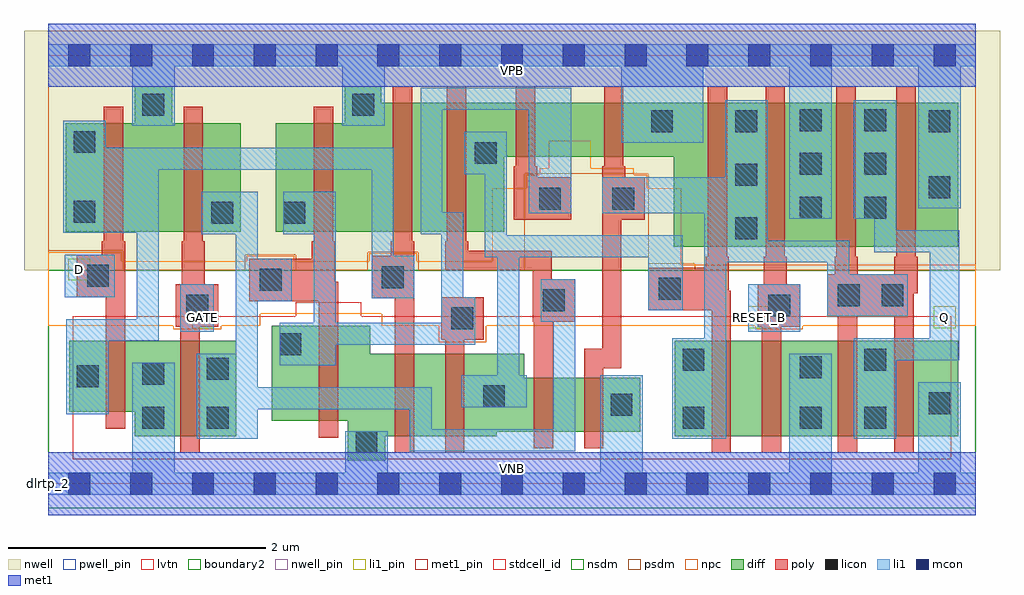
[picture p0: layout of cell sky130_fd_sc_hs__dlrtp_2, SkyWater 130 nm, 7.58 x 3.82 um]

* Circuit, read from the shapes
.subckt sky130_fd_sc_hs__dlrtp_2 D GATE Q RESET_B VGND VNB VPB VPWR
XM1 VGND D n1 VNB sky130_fd_pr__nfet_01v8_lvt w=0.55 l=0.15
XM2 n2 GATE VGND VNB sky130_fd_pr__nfet_01v8_lvt w=0.74 l=0.15
XM3 VGND n2 n3 VNB sky130_fd_pr__nfet_01v8_lvt w=0.74 l=0.15
XM4 n4 n1 VGND VNB sky130_fd_pr__nfet_01v8_lvt w=0.64 l=0.15
XM5 n5 n3 n4 VNB sky130_fd_pr__nfet_01v8_lvt w=0.64 l=0.15
XM6 n6 n2 n5 VNB sky130_fd_pr__nfet_01v8_lvt w=0.42 l=0.15
XM7 VGND n7 n6 VNB sky130_fd_pr__nfet_01v8_lvt w=0.42 l=0.15
XM8 n8 n5 n7 VNB sky130_fd_pr__nfet_01v8_lvt w=0.74 l=0.15
XM9 VGND RESET_B n8 VNB sky130_fd_pr__nfet_01v8_lvt w=0.74 l=0.15
XM10 Q n7 VGND VNB sky130_fd_pr__nfet_01v8_lvt w=0.74 l=0.15 m=2
XM11 VPWR D n1 VPB sky130_fd_pr__pfet_01v8 w=0.84 l=0.15
XM12 n2 GATE VPWR VPB sky130_fd_pr__pfet_01v8 w=0.84 l=0.15
XM13 VPWR n2 n3 VPB sky130_fd_pr__pfet_01v8 w=0.84 l=0.15
XM14 n9 n1 VPWR VPB sky130_fd_pr__pfet_01v8 w=1 l=0.15
XM15 n5 n2 n9 VPB sky130_fd_pr__pfet_01v8 w=1 l=0.15
XM16 n10 n3 n5 VPB sky130_fd_pr__pfet_01v8 w=0.42 l=0.15
XM17 VPWR n7 n10 VPB sky130_fd_pr__pfet_01v8 w=0.42 l=0.15
XM18 n7 n5 VPWR VPB sky130_fd_pr__pfet_01v8 w=1.12 l=0.15
XM19 VPWR RESET_B n7 VPB sky130_fd_pr__pfet_01v8 w=1.12 l=0.15
XM20 Q n7 VPWR VPB sky130_fd_pr__pfet_01v8 w=1.12 l=0.15 m=2
.ends

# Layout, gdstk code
import gdstk
lib = gdstk.Library(unit=1e-6, precision=1e-09)
def R(c, l, rs):  # rectangles x0, y0, x1, y1
    for r in rs: c.add(gdstk.rectangle(r[:2], r[2:], *l))
def A(c, l, x, y, w, h, nx, ny, dx, dy):  # array of equal rectangles
    R(c, l, [(x+i*dx, y+j*dy, x+i*dx+w, y+j*dy+h) for i in range(nx) for j in range(ny)])
def P(c, l, *ps):  # polygons
    for p in ps: c.add(gdstk.Polygon(p, *l))
nwell_pin = (64, 16)
nwell = (64, 20)
diff = (65, 20)
poly = (66, 20)
licon = (66, 44)
li1_pin = (67, 16)
li1 = (67, 20)
mcon = (67, 44)
met1_pin = (68, 16)
met1 = (68, 20)
stdcell_id = (81, 4)
nsdm = (93, 44)
psdm = (94, 20)
npc = (95, 20)
pwell_pin = (122, 16)
lvtn = (125, 44)
boundary2 = (236, 0)

sky130_fd_sc_hs__dlrtp_2 = lib.new_cell('sky130_fd_sc_hs__dlrtp_2')
R(sky130_fd_sc_hs__dlrtp_2, nwell_pin, [(0,3.085,7.2,3.33)])
R(sky130_fd_sc_hs__dlrtp_2, nwell, [(-0.19,1.66,7.39,3.52)])
R(sky130_fd_sc_hs__dlrtp_2, diff, [(4.865,0.37,7.065,1.11)])
P(sky130_fd_sc_hs__dlrtp_2, diff, [(1.46,1.11),(0.16,1.11),(0.16,0.56),(0.67,0.56),(0.67,0.37),(1.46,0.37)],
  [(1.495,2.8),(0.96,2.8),(0.96,3.09),(0.67,3.09),(0.67,2.8),(0.135,2.8),(0.135,1.96),(1.495,1.96)],
  [(4.595,0.825),(3.695,0.825),(3.695,1.01),(2.5,1.01),(2.5,1.23),(1.735,1.23),(1.735,0.49),(2.325,0.49),(2.325,0.18),(2.615,0.18),(2.615,0.37),(3.48,0.37),(3.48,0.405),(4.595,0.405)],
  [(7.065,2.96),(2.585,2.96),(2.585,3.09),(2.3,3.09),(2.3,2.8),(1.765,2.8),(1.765,1.96),(3.54,1.96),(3.54,2.54),(4.855,2.54),(4.855,1.84),(7.065,1.84)])
P(sky130_fd_sc_hs__dlrtp_2, poly, [(6.75,1.765),(6.735,1.765),(6.735,3.09),(6.585,3.09),(6.585,1.765),(6.57,1.765),(6.57,1.63),(6.285,1.63),(6.285,1.765),(6.27,1.765),(6.27,3.09),(6.12,3.09),(6.12,1.765),(6.105,1.765),(6.105,1.63),(6.05,1.63),(6.05,1.3),(6.13,1.3),(6.13,0.24),(6.28,0.24),(6.28,1.3),(6.57,1.3),(6.57,0.24),(6.72,0.24),(6.72,1.48),(6.75,1.48)],
  [(5.84,1.55),(5.735,1.55),(5.735,1.765),(5.72,1.765),(5.72,3.09),(5.57,3.09),(5.57,1.765),(5.555,1.765),(5.555,1.55),(5.51,1.55),(5.51,1.22),(5.54,1.22),(5.54,0.24),(5.69,0.24),(5.69,1.22),(5.84,1.22)],
  [(5.3,1.5),(5.285,1.5),(5.285,1.765),(5.27,1.765),(5.27,3.09),(5.12,3.09),(5.12,1.765),(5.105,1.765),(5.105,1.68),(4.66,1.68),(4.66,1.35),(5.15,1.35),(5.15,0.24),(5.3,0.24)],
  [(4.63,2.38),(4.48,2.38),(4.48,2.465),(4.465,2.465),(4.465,3.09),(4.315,3.09),(4.315,2.465),(4.3,2.465),(4.3,1.05),(4.16,1.05),(4.16,0.275),(4.31,0.275),(4.31,0.9),(4.45,0.9),(4.45,2.05),(4.63,2.05)],
  [(4.09,1.59),(3.91,1.59),(3.91,1.81),(3.26,1.81),(3.26,1.885),(3.245,1.885),(3.245,3.09),(3.095,3.09),(3.095,1.885),(3.08,1.885),(3.08,1.66),(3.76,1.66),(3.76,1.26),(3.77,1.26),(3.77,0.275),(3.92,0.275),(3.92,1.26),(4.09,1.26)],
  [(4.06,2.38),(3.795,2.38),(3.795,2.465),(3.78,2.465),(3.78,3.09),(3.63,3.09),(3.63,2.465),(3.615,2.465),(3.615,2.05),(4.06,2.05)],
  [(3.38,1.45),(3.05,1.45),(3.05,1.12),(3.08,1.12),(3.08,0.24),(3.23,0.24),(3.23,1.12),(3.38,1.12)],
  [(2.84,1.885),(2.825,1.885),(2.825,3.09),(2.675,3.09),(2.675,1.885),(2.66,1.885),(2.66,1.77),(2.51,1.77),(2.51,1.44),(2.69,1.44),(2.69,0.24),(2.84,0.24)],
  [(2.25,1.57),(2.225,1.57),(2.225,1.885),(2.21,1.885),(2.21,2.93),(2.06,2.93),(2.06,1.885),(2.045,1.885),(2.045,1.75),(1.56,1.75),(1.56,1.42),(2.1,1.42),(2.1,0.36),(2.25,0.36)],
  [(1.32,1.55),(1.215,1.55),(1.215,1.885),(1.2,1.885),(1.2,2.93),(1.05,2.93),(1.05,1.885),(1.035,1.885),(1.035,1.55),(0.99,1.55),(0.99,1.22),(1.025,1.22),(1.025,0.24),(1.175,0.24),(1.175,1.22),(1.32,1.22)],
  [(0.595,1.885),(0.58,1.885),(0.58,2.93),(0.43,2.93),(0.43,1.885),(0.415,1.885),(0.415,1.78),(0.22,1.78),(0.22,1.45),(0.445,1.45),(0.445,0.43),(0.595,0.43)])
A(sky130_fd_sc_hs__dlrtp_2, licon, 5.335, 1.9, 0.17, 0.17, 1, 3, 0, 0.415)
A(sky130_fd_sc_hs__dlrtp_2, licon, 5.835, 2.06, 0.17, 0.17, 1, 3, 0, 0.34)
A(sky130_fd_sc_hs__dlrtp_2, licon, 6.335, 2.06, 0.17, 0.17, 1, 3, 0, 0.34)
R(sky130_fd_sc_hs__dlrtp_2, licon, [(2.385,0.24,2.555,0.41), (0.73,0.43,0.9,0.6), (1.23,0.43,1.4,0.6), (4.925,0.43,5.095,0.6), (5.835,0.43,6.005,0.6), (6.335,0.43,6.505,0.6), (4.365,0.53,4.535,0.7), (6.835,0.54,7.005,0.71), (3.375,0.595,3.545,0.765), (0.22,0.75,0.39,0.92), (0.73,0.77,0.9,0.94), (1.23,0.81,1.4,0.98), (5.835,0.82,6.005,0.99), (4.925,0.88,5.095,1.05), (6.335,0.88,6.505,1.05), (1.795,1,1.965,1.17), (3.13,1.2,3.3,1.37), (1.07,1.3,1.24,1.47), (5.59,1.3,5.76,1.47), (3.84,1.34,4.01,1.51), (6.13,1.38,6.3,1.55), (6.47,1.38,6.64,1.55), (4.74,1.43,4.91,1.6), (1.64,1.5,1.81,1.67), (2.59,1.52,2.76,1.69), (0.3,1.53,0.47,1.7), (1.265,2.02,1.435,2.19), (1.825,2.02,1.995,2.19), (0.195,2.03,0.365,2.2), (3.81,2.13,3.98,2.3), (4.38,2.13,4.55,2.3), (6.835,2.22,7.005,2.39), (3.31,2.485,3.48,2.655), (0.195,2.57,0.365,2.74), (4.68,2.73,4.85,2.9), (6.835,2.73,7.005,2.9), (0.73,2.86,0.9,3.03), (2.36,2.86,2.53,3.03)])
R(sky130_fd_sc_hs__dlrtp_2, li1_pin, [(1.115,1.21,1.285,1.38), (5.435,1.21,5.605,1.38), (6.875,1.21,7.045,1.38), (0.155,1.58,0.325,1.75)])
R(sky130_fd_sc_hs__dlrtp_2, li1, [(1.025,1.18,1.285,1.55), (5.435,1.18,5.84,1.55), (0.125,1.45,0.515,1.78)])
P(sky130_fd_sc_hs__dlrtp_2, li1, [(0,3.245),(0,3.415),(7.2,3.415),(7.2,3.245),(7.085,3.245),(7.085,2.14),(6.755,2.14),(6.755,3.245),(6.085,3.245),(6.085,2.06),(5.755,2.06),(5.755,3.245),(5.085,3.245),(5.085,2.65),(4.45,2.65),(4.45,3.245),(2.61,3.245),(2.61,2.78),(2.28,2.78),(2.28,3.245),(0.98,3.245),(0.98,2.78),(0.65,2.78),(0.65,3.245)],
  [(2.305,0.085),(2.305,0.41),(2.635,0.41),(2.635,0.085),(4.285,0.085),(4.285,0.845),(4.615,0.845),(4.615,0.085),(5.755,0.085),(5.755,1.01),(6.085,1.01),(6.085,0.085),(6.755,0.085),(6.755,0.79),(7.085,0.79),(7.085,0.085),(7.2,0.085),(7.2,-0.085),(0,-0.085),(0,0.085),(0.65,0.085),(0.65,0.94),(0.98,0.94),(0.98,0.085)],
  [(6.585,0.96),(6.585,0.35),(6.255,0.35),(6.255,1.13),(6.845,1.13),(6.845,1.8),(6.415,1.8),(6.415,2.06),(6.255,2.06),(6.255,2.98),(6.585,2.98),(6.585,1.97),(7.075,1.97),(7.075,0.96)],
  [(1.15,0.35),(1.15,1.01),(1.455,1.01),(1.455,1.94),(1.185,1.94),(1.185,2.27),(1.625,2.27),(1.625,1.75),(1.89,1.75),(1.89,1.42),(1.625,1.42),(1.625,0.75),(2.975,0.75),(2.975,0.425),(3.92,0.425),(3.92,1.26),(3.825,1.26),(3.825,1.59),(4.09,1.59),(4.09,0.255),(2.805,0.255),(2.805,0.58),(1.625,0.58),(1.625,0.35)],
  [(2.23,1.08),(2.23,0.92),(1.795,0.92),(1.795,1.25),(2.06,1.25),(2.06,1.94),(1.825,1.94),(1.825,2.27),(2.23,2.27),(2.23,1.25),(3.05,1.25),(3.05,1.94),(2.89,1.94),(2.89,3.075),(4.06,3.075),(4.06,2.1),(3.73,2.1),(3.73,2.905),(3.06,2.905),(3.06,2.11),(3.22,2.11),(3.22,1.45),(3.315,1.45),(3.315,1.08)],
  [(3.39,1.76),(3.39,2.405),(3.23,2.405),(3.23,2.735),(3.56,2.735),(3.56,1.93),(4.925,1.93),(4.925,1.35),(4.66,1.35),(4.66,1.76),(3.655,1.76),(3.655,0.845),(3.715,0.845),(3.715,0.595),(3.205,0.595),(3.205,0.845),(3.485,0.845),(3.485,1.76)],
  [(0.685,1.28),(0.685,1.95),(0.115,1.95),(0.115,2.82),(0.445,2.82),(0.445,2.61),(2.68,2.61),(2.68,1.77),(2.84,1.77),(2.84,1.44),(2.51,1.44),(2.51,2.44),(0.855,2.44),(0.855,1.11),(0.47,1.11),(0.47,0.54),(0.14,0.54),(0.14,1.28)],
  [(5.095,2.1),(4.3,2.1),(4.3,2.38),(5.255,2.38),(5.255,2.98),(5.585,2.98),(5.585,1.89),(6.22,1.89),(6.22,1.63),(6.675,1.63),(6.675,1.3),(6.05,1.3),(6.05,1.72),(5.265,1.72),(5.265,0.35),(4.845,0.35),(4.845,1.13),(5.095,1.13)])
A(sky130_fd_sc_hs__dlrtp_2, mcon, 0.155, -0.085, 0.17, 0.17, 15, 2, 0.48, 3.33)
R(sky130_fd_sc_hs__dlrtp_2, met1_pin, [(0,0,7.2,0.245), (0,3.085,7.2,3.33)])
R(sky130_fd_sc_hs__dlrtp_2, met1, [(0,-0.245,7.2,0.245), (0,3.085,7.2,3.575)])
R(sky130_fd_sc_hs__dlrtp_2, stdcell_id, [(0,0,7.2,3.33)])
R(sky130_fd_sc_hs__dlrtp_2, nsdm, [(0,-0.19,7.2,1.66)])
P(sky130_fd_sc_hs__dlrtp_2, psdm, [(7.2,3.52),(0,3.52),(0,1.81),(0.58,1.81),(0.58,1.66),(1.53,1.66),(1.53,1.78),(1.92,1.78),(1.92,1.66),(2.48,1.66),(2.48,1.8),(2.87,1.8),(2.87,1.66),(3.7,1.66),(3.7,2.41),(4.66,2.41),(4.66,1.71),(5.02,1.71),(5.02,1.66),(7.2,1.66)])
P(sky130_fd_sc_hs__dlrtp_2, npc, [(7.2,1.7),(4.915,1.7),(4.915,2.295),(4.65,2.295),(4.65,2.4),(4.545,2.4),(4.545,2.45),(4.21,2.45),(4.21,2.665),(3.885,2.665),(3.885,2.45),(3.815,2.45),(3.815,2.4),(3.71,2.4),(3.71,2.295),(3.445,2.295),(3.445,1.73),(2.86,1.73),(2.86,1.79),(2.49,1.79),(2.49,1.73),(1.91,1.73),(1.91,1.77),(1.54,1.77),(1.54,1.73),(0.57,1.73),(0.57,1.8),(0,1.8),(0,1.23),(0.97,1.23),(0.97,1.2),(1.34,1.2),(1.34,1.23),(1.645,1.23),(1.645,1.32),(2.59,1.32),(2.59,1.23),(3.03,1.23),(3.03,1.1),(3.4,1.1),(3.4,1.23),(5.49,1.23),(5.49,1.2),(5.86,1.2),(5.86,1.23),(7.2,1.23)])
R(sky130_fd_sc_hs__dlrtp_2, pwell_pin, [(0,0,7.2,0.245)])
P(sky130_fd_sc_hs__dlrtp_2, lvtn, [(7.01,1.3),(2.43,1.3),(2.43,1.41),(1.92,1.41),(1.92,1.3),(0.19,1.3),(0.19,0.19),(7.01,0.19)])
R(sky130_fd_sc_hs__dlrtp_2, boundary2, [(0,0,7.2,3.33)])
sky130_fd_sc_hs__dlrtp_2.add(gdstk.Label('dlrtp_2', (0,0), layer=83, texttype=44))
sky130_fd_sc_hs__dlrtp_2.add(gdstk.Label('VNB', (3.6,0.123), layer=64, texttype=59))
sky130_fd_sc_hs__dlrtp_2.add(gdstk.Label('VPB', (3.6,3.208), layer=64, texttype=5))
sky130_fd_sc_hs__dlrtp_2.add(gdstk.Label('VPWR', (3.6,3.208), layer=68, texttype=5))
sky130_fd_sc_hs__dlrtp_2.add(gdstk.Label('VGND', (3.6,0.123), layer=68, texttype=5))
sky130_fd_sc_hs__dlrtp_2.add(gdstk.Label('D', (0.24,1.665), layer=67, texttype=5))
sky130_fd_sc_hs__dlrtp_2.add(gdstk.Label('GATE', (1.2,1.295), layer=67, texttype=5))
sky130_fd_sc_hs__dlrtp_2.add(gdstk.Label('RESET_B', (5.52,1.295), layer=67, texttype=5))
sky130_fd_sc_hs__dlrtp_2.add(gdstk.Label('Q', (6.96,1.295), layer=67, texttype=5))

lib.write_gds('sky130_fd_sc_hs__dlrtp_2.gds')
